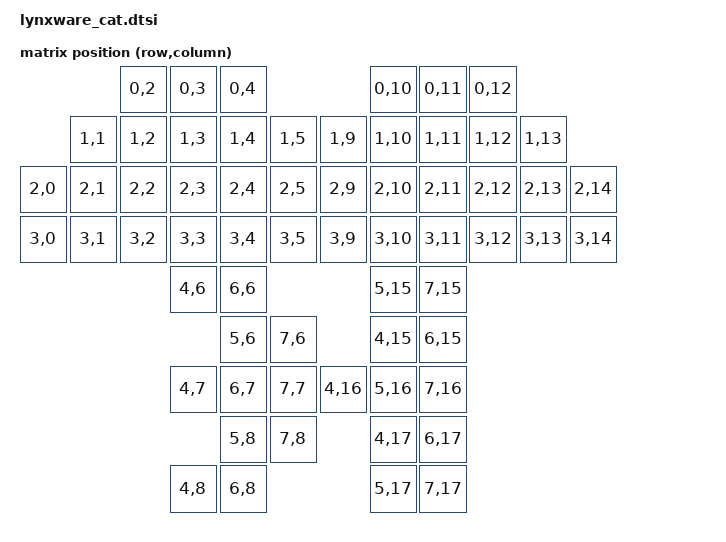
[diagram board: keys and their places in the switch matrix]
#include <dt-bindings/zmk/matrix_transform.h>

/ {
    esb_split {
        compatible = "zmk,esb-split";
        base-addr-0 = <0xE7 0xE7 0xE7 0xE7>;
        base-addr-1 = <0xC2 0xC2 0xC2 0xC2>;
        addr-prefix = <0xE7 0xC2 0xC3 0xC4 0xC5 0xC6 0xC7 0xC8>;
    };
    chosen {
        zmk,kscan = &kscan0;
        zmk,split = &split;
        zmk,matrix-transform = &default_transform;
    };

    default_transform: default_transform {
        compatible = "zmk,matrix-transform";
        columns = <18>;
        rows = <8>;
        map = <
                            RC(0,2) RC(0,3) RC(0,4)                     RC(0,10) RC(0,11) RC(0,12)
                    RC(1,1) RC(1,2) RC(1,3) RC(1,4) RC(1,5)     RC(1,9) RC(1,10) RC(1,11) RC(1,12) RC(1,13)
            RC(2,0) RC(2,1) RC(2,2) RC(2,3) RC(2,4) RC(2,5)     RC(2,9) RC(2,10) RC(2,11) RC(2,12) RC(2,13) RC(2,14)
            RC(3,0) RC(3,1) RC(3,2) RC(3,3) RC(3,4) RC(3,5)     RC(3,9) RC(3,10) RC(3,11) RC(3,12) RC(3,13) RC(3,14)

                                    RC(4,6) RC(6,6)                      RC(5,15) RC(7,15)
                                         RC(5,6) RC(7,6)             RC(4,15) RC(6,15)
                                    RC(4,7) RC(6,7) RC(7,7)     RC(4,16) RC(5,16) RC(7,16)
                                         RC(5,8) RC(7,8)             RC(4,17) RC(6,17)
                                    RC(4,8) RC(6,8)                      RC(5,17) RC(7,17)
        >;
    };
    kscan0: kscan0 {
        compatible = "zmk,kscan-gpio-matrix";
        diode-direction = "row2col";
        wakeup-source;
    };

    soft_off_wakers {
        compatible = "zmk,soft-off-wakeup-sources";
        wakeup-sources = <&kscan0>;
    };

    split: split {
        compatible = "zmk,split";
    };

    split_inputs {
        #address-cells = <1>;
        #size-cells = <0>;

        mouse_split: mouse_split@0 {
            compatible = "zmk,input-split";
            reg = <0>;
        };
    };

    mouse_listener: mouse_listener {
        compatible = "zmk,input-listener";
        status = "disabled";
        device = <&mouse_split>;
    };
};
